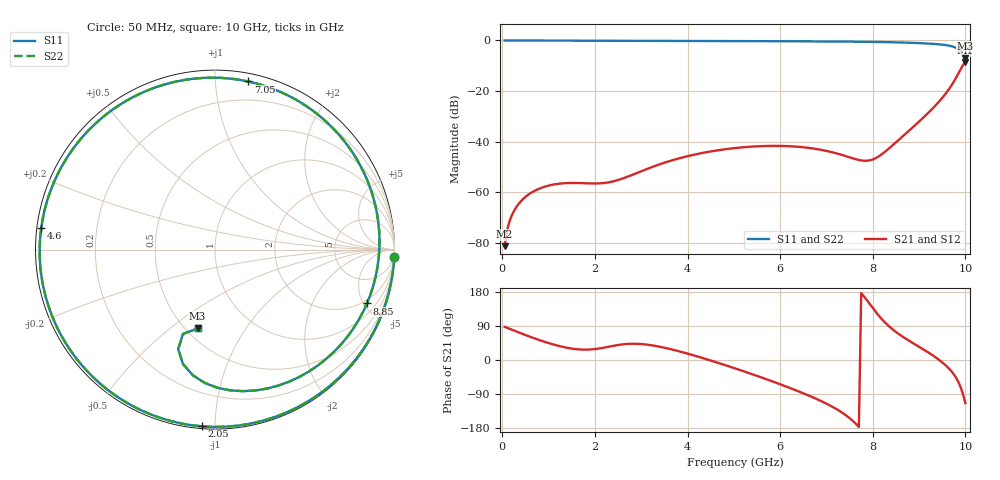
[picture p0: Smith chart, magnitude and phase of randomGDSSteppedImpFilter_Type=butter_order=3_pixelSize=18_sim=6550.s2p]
! freq	dB(S11)	phase(S11)	dB(S12)	phase(S12)
!  dB(S21)	phase(S21)	dB(S22)	phase(S22)
!S-par simulation data
#  GHz  S  DB  R 50
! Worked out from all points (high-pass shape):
!   200 points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, 50 MHz to 10 GHz, reference 50 ohm
!   highest |S21| = -8.63 dB at 10 GHz (marker M1); lowest = -81.3 dB at 50 MHz (marker M2)
!   |S21| within 3 dB of the highest: 9.888 GHz to end of sweep
!   lowest |S11| = -6.9 dB at 10 GHz (marker M3), VSWR 2.64, Z = 28.6 - j31.5 ohm
!   |S11| at or under -10 dB: nowhere
!   |S22| runs from -6.9 to 0.0 dB; largest |S21 - S12| = 0
!   S11 on the Smith chart (normalised r, x): 50 MHz: 0, -46; 2.05 GHz: 0.01, -0.93; 4.6 GHz: 0.01, +0.06; 7.05 GHz: 0.06, +1.21; 8.85 GHz: 1.70, -5.28; 10 GHz: 0.57, -0.63
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0.05  -0.00 -2.5  -81.28 87.5  -81.28 87.5  -0.00 -2.5
0.2  -0.01 -9.9  -69.32 80.2  -69.32 80.2  -0.01 -9.9
0.55  -0.04 -27.0  -61.09 63.6  -61.09 63.6  -0.04 -27.0
1.15  -0.07 -55.3  -56.79 39.3  -56.79 39.3  -0.07 -55.3
1.75  -0.10 -81.8  -56.40 27.4  -56.40 27.4  -0.10 -81.8
2.05  -0.11 -94.3  -56.50 29.6  -56.50 29.6  -0.11 -94.3
2.65  -0.13 -117.9  -54.21 41.9  -54.21 41.9  -0.13 -117.9
3.4  -0.16 -145.4  -48.92 35.0  -48.92 35.0  -0.16 -145.4
4  -0.19 -166.4  -45.73 16.9  -45.73 16.9  -0.19 -166.4
4.6  -0.22 172.9  -43.55 -5.1  -43.55 -5.1  -0.22 172.9
5.05  -0.24 157.2  -42.47 -23.0  -42.47 -23.0  -0.24 157.2
5.95  -0.30 124.3  -41.66 -61.7  -41.66 -61.7  -0.30 124.3
6.7  -0.36 94.2  -42.65 -98.2  -42.65 -98.2  -0.36 94.2
7.05  -0.40 78.9  -43.84 -118.4  -43.84 -118.4  -0.40 78.9
7.85  -0.53 39.9  -47.55 161.5  -47.55 161.5  -0.53 40.0
8.35  -0.68 12.1  -42.66 88.9  -42.66 88.9  -0.68 12.1
8.85  -0.93 -19.5  -34.56 45.9  -34.56 45.9  -0.93 -19.4
9.2  -1.22 -44.8  -28.58 19.9  -28.58 19.9  -1.22 -44.7
9.55  -1.76 -74.1  -21.56 -11.5  -21.56 -11.5  -1.76 -74.0
9.7  -2.27 -89.0  -17.74 -30.0  -17.74 -30.0  -2.27 -88.9
9.85  -3.59 -105.7  -12.97 -58.3  -12.97 -58.3  -3.59 -105.6
10  -6.93 -102.4  -8.63 -113.7  -8.63 -113.7  -6.94 -102.3
